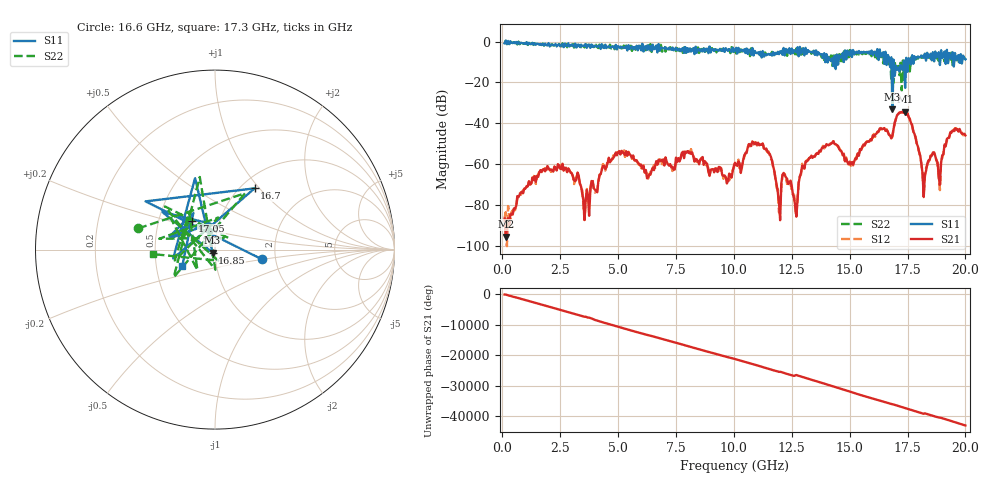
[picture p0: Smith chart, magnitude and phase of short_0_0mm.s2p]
#  HZ  S  RI  R  1.00
! Rohde & Schwarz ZVA67 4Ports - Version 4.11 - 1305.7002k04 SN: 101032
! Date: 2023-06-01 16:56:43
! Measurements: S11 S21 S12 S22
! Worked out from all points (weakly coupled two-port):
!   399 points, 100 MHz to 20 GHz, reference 1 ohm
!   highest |S21| = -34.34 dB at 17.4 GHz (marker M1); lowest = -95.4 dB at 150 MHz (marker M2)
!   lowest |S11| = -33.1 dB at 16.85 GHz (marker M3), VSWR 1.05, Z = 0.973 - j0.0338 ohm
!   |S11| at or under -10 dB: 13.94914 GHz to 13.95095 GHz (1.805 MHz wide, 0.0129 % of centre); 14.04742 GHz to 14.05409 GHz (6.666 MHz wide, 0.0474 % of centre); 16.91 GHz to 17.34 GHz (434.2 MHz wide, 2.54 % of centre) (the widest 3 of 21)
!   |S22| runs from -23.9 to 0.5 dB; largest |S21 - S12| = 0.035
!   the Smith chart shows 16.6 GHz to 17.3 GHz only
!   S11 on the Smith chart (normalised r, x): 16.6 GHz: 1.70, -0.20; 16.7 GHz: 1.15, +0.94; 16.85 GHz: 0.97, -0.03; 17.05 GHz: 0.74, +0.25; 17.3 GHz: 0.68, -0.13
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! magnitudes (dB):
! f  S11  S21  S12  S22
! 100 MHz  -0.8  -86.7  -86.5  -0.6
! 150 MHz  0.6  -95.4  -83.5  0.4
! 2.4 GHz  -1.7  -60.0  -61.7  -2.3
! 3.45 GHz  -2.2  -74.3  -72.7  -1.5
! 6.75 GHz  -1.2  -57.8  -59.3  -3.1
! 10.05 GHz  -4.3  -59.3  -59.1  -2.7
! 11.25 GHz  -4.6  -49.8  -50.2  -6.1
! 11.95 GHz  -6.1  -78.9  -83.6  -5.8
! 12.2 GHz  -6.8  -65.4  -64.8  -5.9
! 12.7 GHz  -5.3  -85.7  -85.5  -3.3
! 13.4 GHz  -5.3  -56.9  -56.1  -4.9
! 16.6 GHz  -11.5  -43.3  -43.0  -7.1
! 16.7 GHz  -7.8  -45.7  -45.6  -11.1
! 16.8 GHz  -7.7  -47.4  -47.2  -19.0
! 16.85 GHz  -33.1  -45.9  -46.5  -8.7
! 16.9 GHz  -8.9  -42.7  -42.4  -20.1
! 17.05 GHz  -13.8  -36.0  -36.1  -12.7
! 17.3 GHz  -13.8  -34.6  -34.6  -9.2
! 17.4 GHz  -22.7  -34.3  -34.2  -9.2
! 18.2 GHz  -7.8  -76.1  -75.3  -7.2
! 18.6 GHz  -5.2  -54.2  -54.7  -9.0
! 20 GHz  -8.7  -45.9  -45.7  -7.9
